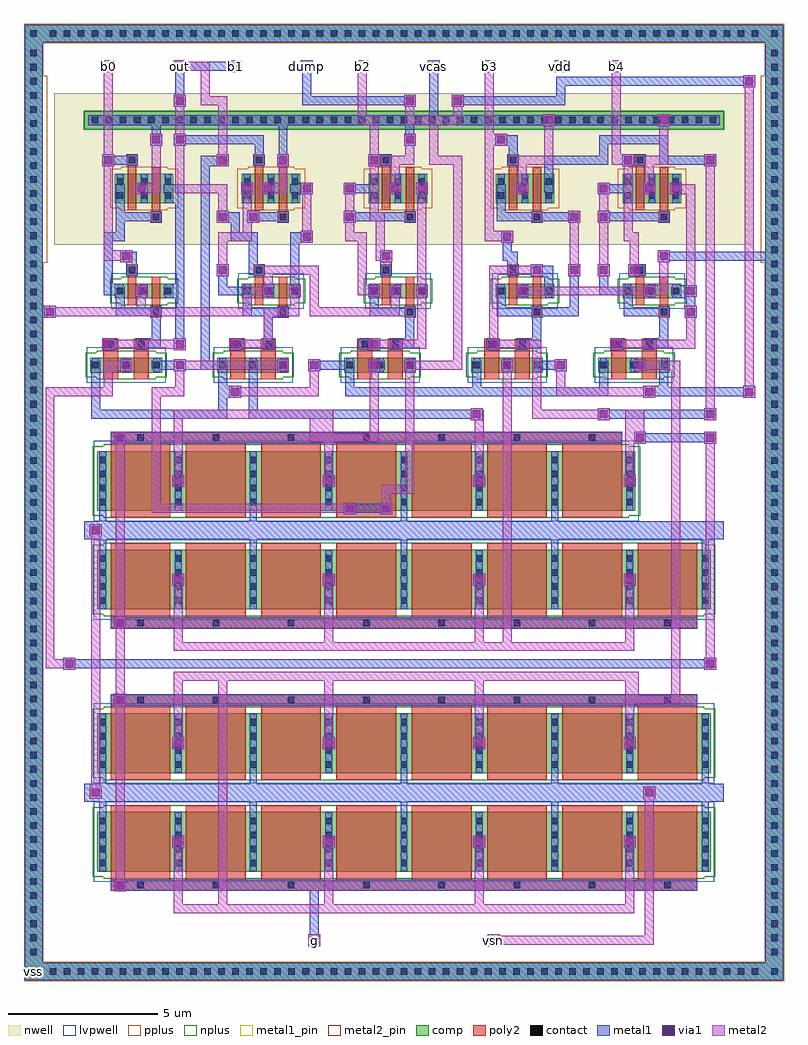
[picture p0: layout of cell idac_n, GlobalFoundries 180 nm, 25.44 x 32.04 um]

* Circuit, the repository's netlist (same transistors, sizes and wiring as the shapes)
* NGSPICE file created from idac_n.ext - technology: gf180mcuD

.subckt n_w2_l2_f8 a_n52_n200# a_n1060_n200# a_452_n200# a_1564_n244# a_n452_n244#
+ a_n556_n200# a_n1460_n244# a_1460_n200# a_52_n244# a_n1564_n200# a_956_n200# a_n2052_n200#
+ a_n956_n244# a_1060_n244# a_n1964_n244# a_556_n244# a_1964_n200# VSUBS
X0 a_1964_n200# a_1564_n244# a_1460_n200# VSUBS nfet_03v3 ad=0.88p pd=4.88u as=0.52p ps=2.52u w=2u l=2u
X1 a_452_n200# a_52_n244# a_n52_n200# VSUBS nfet_03v3 ad=0.52p pd=2.52u as=0.52p ps=2.52u w=2u l=2u
X2 a_956_n200# a_556_n244# a_452_n200# VSUBS nfet_03v3 ad=0.52p pd=2.52u as=0.52p ps=2.52u w=2u l=2u
X3 a_1460_n200# a_1060_n244# a_956_n200# VSUBS nfet_03v3 ad=0.52p pd=2.52u as=0.52p ps=2.52u w=2u l=2u
X4 a_n1564_n200# a_n1964_n244# a_n2052_n200# VSUBS nfet_03v3 ad=0.52p pd=2.52u as=0.88p ps=4.88u w=2u l=2u
X5 a_n1060_n200# a_n1460_n244# a_n1564_n200# VSUBS nfet_03v3 ad=0.52p pd=2.52u as=0.52p ps=2.52u w=2u l=2u
X6 a_n556_n200# a_n956_n244# a_n1060_n200# VSUBS nfet_03v3 ad=0.52p pd=2.52u as=0.52p ps=2.52u w=2u l=2u
X7 a_n52_n200# a_n452_n244# a_n556_n200# VSUBS nfet_03v3 ad=0.52p pd=2.52u as=0.52p ps=2.52u w=2u l=2u
.ends

.subckt p_w1_l0p28_f2 a_n196_n100# a_n52_n100# w_n282_n230# a_108_n100# a_52_n144#
+ a_n108_n144#
X0 a_n52_n100# a_n108_n144# a_n196_n100# w_n282_n230# pfet_03v3 ad=0.26p pd=1.52u as=0.44p ps=2.88u w=1u l=0.28u
X1 a_108_n100# a_52_n144# a_n52_n100# w_n282_n230# pfet_03v3 ad=0.44p pd=2.88u as=0.26p ps=1.52u w=1u l=0.28u
.ends

.subckt n_w0p5_l0p28_f2 a_n52_n50# a_n196_n50# a_52_n94# a_108_n50# a_n108_n94# VSUBS
X0 a_108_n50# a_52_n94# a_n52_n50# VSUBS nfet_03v3 ad=0.22p pd=1.88u as=0.13p ps=1.02u w=0.5u l=0.28u
X1 a_n52_n50# a_n108_n94# a_n196_n50# VSUBS nfet_03v3 ad=0.13p pd=1.02u as=0.22p ps=1.88u w=0.5u l=0.28u
.ends

.subckt n_w2_l2_f7 a_n704_n244# a_n808_n200# a_304_n244# a_n1712_n244# a_1712_n200#
+ a_n1800_n200# a_n1208_n244# a_1208_n200# a_200_n200# a_1312_n244# a_808_n244# a_n200_n244#
+ a_n304_n200# a_n1312_n200# a_704_n200# VSUBS
X0 a_n304_n200# a_n704_n244# a_n808_n200# VSUBS nfet_03v3 ad=0.52p pd=2.52u as=0.52p ps=2.52u w=2u l=2u
X1 a_200_n200# a_n200_n244# a_n304_n200# VSUBS nfet_03v3 ad=0.52p pd=2.52u as=0.52p ps=2.52u w=2u l=2u
X2 a_1712_n200# a_1312_n244# a_1208_n200# VSUBS nfet_03v3 ad=0.88p pd=4.88u as=0.52p ps=2.52u w=2u l=2u
X3 a_1208_n200# a_808_n244# a_704_n200# VSUBS nfet_03v3 ad=0.52p pd=2.52u as=0.52p ps=2.52u w=2u l=2u
X4 a_704_n200# a_304_n244# a_200_n200# VSUBS nfet_03v3 ad=0.52p pd=2.52u as=0.52p ps=2.52u w=2u l=2u
X5 a_n1312_n200# a_n1712_n244# a_n1800_n200# VSUBS nfet_03v3 ad=0.52p pd=2.52u as=0.88p ps=4.88u w=2u l=2u
X6 a_n808_n200# a_n1208_n244# a_n1312_n200# VSUBS nfet_03v3 ad=0.52p pd=2.52u as=0.52p ps=2.52u w=2u l=2u
.ends

.subckt n_w0p5_l0p5_f2 a_n52_n50# a_52_n94# a_152_n50# a_n240_n50# a_n152_n94# VSUBS
X0 a_152_n50# a_52_n94# a_n52_n50# VSUBS nfet_03v3 ad=0.22p pd=1.88u as=0.13p ps=1.02u w=0.5u l=0.5u
X1 a_n52_n50# a_n152_n94# a_n240_n50# VSUBS nfet_03v3 ad=0.13p pd=1.02u as=0.22p ps=1.88u w=0.5u l=0.5u
.ends

.subckt idac_n g vsn b0 b1 b2 b3 b4 out dump vcas vdd vss
XU4b vsn vsn m1_988_888# g g m1_988_888# g m1_988_888# g m1_988_888# vsn vsn g g g
+ g vsn vss n_w2_l2_f8
XU3 vsn vsn m1_988_2644# g g m1_988_2644# g m1_988_2644# g m1_988_2644# vsn vsn g
+ g g g vsn vss n_w2_l2_f8
XIP0 a_732_4170# vcas vcas a_528_4170# a_732_4170# b0 p_w1_l0p28_f2
XIP1 a_1582_4170# vcas vcas a_1378_4170# a_1582_4170# b1 p_w1_l0p28_f2
XIP2 a_2432_4170# vcas vcas a_2228_4170# a_2432_4170# b2 p_w1_l0p28_f2
XIN0 vss a_732_4170# a_732_4170# a_528_4170# b0 vss n_w0p5_l0p28_f2
XIP3 a_3282_4170# vcas vcas a_3078_4170# a_3282_4170# b3 p_w1_l0p28_f2
XIN1 vss a_1582_4170# a_1582_4170# a_1378_4170# b1 vss n_w0p5_l0p28_f2
XIP4 a_4132_4170# vcas vcas a_3928_4170# a_4132_4170# b4 p_w1_l0p28_f2
XIN3 vss a_3282_4170# a_3282_4170# a_3078_4170# b3 vss n_w0p5_l0p28_f2
XIN2 vss a_2432_4170# a_2432_4170# a_2228_4170# b2 vss n_w0p5_l0p28_f2
XIN4 vss a_4132_4170# a_4132_4170# a_3928_4170# b4 vss n_w0p5_l0p28_f2
XU210 g vsn g g m1_260_2080# vsn g vsn vsn g g g m1_988_3304# m1_988_3304# m1_1500_3762#
+ vss n_w2_l2_f7
XSW0 m1_260_2080# a_732_4170# dump out a_528_4170# vss n_w0p5_l0p5_f2
XSW2 m1_988_3304# a_2432_4170# dump out a_2228_4170# vss n_w0p5_l0p5_f2
XSW1 m1_1500_3762# a_1582_4170# dump out a_1378_4170# vss n_w0p5_l0p5_f2
XSW3 m1_988_2644# a_3282_4170# dump out a_3078_4170# vss n_w0p5_l0p5_f2
XSW4 m1_988_888# a_4132_4170# dump out a_3928_4170# vss n_w0p5_l0p5_f2
XU4a vsn vsn m1_988_888# g g m1_988_888# g m1_988_888# g m1_988_888# vsn vsn g g g
+ g vsn vss n_w2_l2_f8
.ends

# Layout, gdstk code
import gdstk
lib = gdstk.Library(unit=1e-6, precision=1e-09)
def R(c, l, rs):  # rectangles x0, y0, x1, y1
    for r in rs: c.add(gdstk.rectangle(r[:2], r[2:], *l))
def A(c, l, x, y, w, h, nx, ny, dx, dy):  # array of equal rectangles
    R(c, l, [(x+i*dx, y+j*dy, x+i*dx+w, y+j*dy+h) for i in range(nx) for j in range(ny)])
nwell = (21, 0)
comp = (22, 0)
poly2 = (30, 0)
pplus = (31, 0)
nplus = (32, 0)
contact = (33, 0)
metal1 = (34, 0)
metal1_pin = (34, 10)
via1 = (35, 0)
metal2 = (36, 0)
metal2_pin = (36, 10)
lvpwell = (204, 0)

n_w2_l2_f8 = lib.new_cell('n_w2_l2_f8')
R(n_w2_l2_f8, comp, [(-10.26,-1,10.26,1)])
A(n_w2_l2_f8, poly2, -9.82, -1.22, 2, 2.44, 8, 1, 2.52, 0)
R(n_w2_l2_f8, nplus, [(-10.05,-1.23,10.05,-1.16), (-10.42,-1.16,10.42,1.16), (-10.05,1.16,10.05,1.23)])
A(n_w2_l2_f8, contact, -10.19, -0.815, 0.22, 0.22, 9, 4, 2.52, 0.47)
A(n_w2_l2_f8, metal1, -10.195, -0.99, 0.23, 1.98, 9, 1, 2.52, 0)
R(n_w2_l2_f8, lvpwell, [(-10.38,-1.34,10.38,1.34)])

n_w2_l2_f7 = lib.new_cell('n_w2_l2_f7')
R(n_w2_l2_f7, comp, [(-9,-1,9,1)])
A(n_w2_l2_f7, poly2, -8.56, -1.22, 2, 2.44, 7, 1, 2.52, 0)
R(n_w2_l2_f7, nplus, [(-8.79,-1.23,8.79,-1.16), (-9.16,-1.16,9.16,1.16), (-8.79,1.16,8.79,1.23)])
A(n_w2_l2_f7, contact, -8.93, -0.815, 0.22, 0.22, 8, 4, 2.52, 0.47)
A(n_w2_l2_f7, metal1, -8.935, -0.99, 0.23, 1.98, 8, 1, 2.52, 0)
R(n_w2_l2_f7, lvpwell, [(-9.12,-1.34,9.12,1.34)])

n_w0p5_l0p5_f2 = lib.new_cell('n_w0p5_l0p5_f2')
R(n_w0p5_l0p5_f2, comp, [(-1.2,-0.25,1.2,0.25)])
R(n_w0p5_l0p5_f2, poly2, [(-0.76,-0.47,-0.26,0.47), (0.26,-0.47,0.76,0.47)])
R(n_w0p5_l0p5_f2, nplus, [(-0.99,-0.48,0.99,-0.41), (-1.36,-0.41,1.36,0.41), (-0.99,0.41,0.99,0.48)])
A(n_w0p5_l0p5_f2, contact, -1.13, -0.11, 0.22, 0.22, 3, 1, 1.02, 0)
A(n_w0p5_l0p5_f2, metal1, -1.135, -0.24, 0.23, 0.48, 3, 1, 1.02, 0)
R(n_w0p5_l0p5_f2, lvpwell, [(-1.32,-0.59,1.32,0.59)])

n_w0p5_l0p28_f2 = lib.new_cell('n_w0p5_l0p28_f2')
R(n_w0p5_l0p28_f2, comp, [(-0.98,-0.25,0.98,0.25)])
R(n_w0p5_l0p28_f2, poly2, [(-0.54,-0.47,-0.26,0.47), (0.26,-0.47,0.54,0.47)])
R(n_w0p5_l0p28_f2, nplus, [(-0.77,-0.48,0.77,-0.41), (-1.14,-0.41,1.14,0.41), (-0.77,0.41,0.77,0.48)])
A(n_w0p5_l0p28_f2, contact, -0.91, -0.11, 0.22, 0.22, 3, 1, 0.8, 0)
A(n_w0p5_l0p28_f2, metal1, -0.915, -0.24, 0.23, 0.48, 3, 1, 0.8, 0)
R(n_w0p5_l0p28_f2, lvpwell, [(-1.1,-0.59,1.1,0.59)])

p_w1_l0p28_f2 = lib.new_cell('p_w1_l0p28_f2')
R(p_w1_l0p28_f2, nwell, [(-1.41,-1.15,1.41,1.15)])
R(p_w1_l0p28_f2, comp, [(-0.98,-0.5,0.98,0.5)])
R(p_w1_l0p28_f2, poly2, [(-0.54,-0.72,-0.26,0.72), (0.26,-0.72,0.54,0.72)])
R(p_w1_l0p28_f2, pplus, [(-0.77,-0.73,0.77,-0.66), (-1.14,-0.66,1.14,0.66), (-0.77,0.66,0.77,0.73)])
A(p_w1_l0p28_f2, contact, -0.91, -0.345, 0.22, 0.22, 3, 2, 0.8, 0.47)
A(p_w1_l0p28_f2, metal1, -0.915, -0.49, 0.23, 0.98, 3, 1, 0.8, 0)

idac_n = lib.new_cell('idac_n')
R(idac_n, nwell, [(1,24.62,24.4,29.7)])
R(idac_n, comp, [(0,0,25.4,0.6), (0,0.6,0.6,31.4), (24.8,0.6,25.4,31.4), (2,28.5,23.4,29.1), (0,31.4,25.4,32)])
A(idac_n, poly2, 2.88, 3.37, 2, 0.27, 8, 2, 2.52, 5.57)
A(idac_n, poly2, 2.88, 12.15, 2, 0.27, 8, 1, 2.52, 0)
A(idac_n, poly2, 2.88, 17.72, 2, 0.27, 7, 1, 2.52, 0)
A(idac_n, poly2, 4.22, 22.2, 0.36, 0.36, 5, 2, 4.25, 3.18)
A(idac_n, poly2, 4.26, 22.56, 0.28, 0.27, 5, 2, 4.25, 3.18)
A(idac_n, poly2, 3.46, 23.33, 0.28, 0.27, 5, 2, 4.25, 3.68)
A(idac_n, poly2, 3.42, 23.6, 0.36, 0.36, 5, 2, 4.25, 3.68)
R(idac_n, poly2, [(2.88,3.01,22.52,3.37), (2.88,9.21,22.52,9.57), (2.88,11.79,22.52,12.15), (2.88,17.99,20,18.35), (2.64,20.85,3.14,21.48), (3.66,20.85,4.16,21.48), (6.89,20.85,7.39,21.48), (7.91,20.85,8.41,21.48), (11.14,20.85,11.64,21.48), (12.16,20.85,12.66,21.48), (15.39,20.85,15.89,21.48), (16.41,20.85,16.91,21.48), (19.64,20.85,20.14,21.48), (20.66,20.85,21.16,21.48)])
R(idac_n, pplus, [(-0.02,-0.02,25.42,0.62), (-0.02,0.62,0.62,24.03), (24.78,0.62,25.42,24.03), (-0.02,24.03,0.76,30.29), (24.64,24.03,25.42,30.29), (-0.02,30.29,0.62,31.38), (24.78,30.29,25.42,31.38), (-0.02,31.38,25.42,32.02)])
R(idac_n, nplus, [(1.98,28.48,23.42,29.12)])
A(idac_n, contact, 0.84, 0.19, 0.22, 0.22, 51, 2, 0.47, 31.4)
A(idac_n, contact, 0.19, 0.85, 0.22, 0.22, 1, 65, 0, 0.47)
A(idac_n, contact, 24.99, 0.85, 0.22, 0.22, 1, 65, 0, 0.47)
A(idac_n, contact, 3.77, 3.08, 0.22, 0.22, 8, 2, 2.52, 6.2)
A(idac_n, contact, 3.77, 11.86, 0.22, 0.22, 8, 1, 2.52, 0)
A(idac_n, contact, 3.77, 18.06, 0.22, 0.22, 7, 1, 2.52, 0)
A(idac_n, contact, 4.29, 22.27, 0.22, 0.22, 5, 2, 4.25, 3.18)
A(idac_n, contact, 3.49, 23.67, 0.22, 0.22, 5, 2, 4.25, 3.68)
A(idac_n, contact, 2.25, 28.69, 0.22, 0.22, 45, 1, 0.47, 0)
R(idac_n, contact, [(0.19,0.19,0.41,0.41), (24.99,0.19,25.21,0.41), (2.78,21.19,3,21.41), (3.8,21.19,4.02,21.41), (7.03,21.19,7.25,21.41), (8.05,21.19,8.27,21.41), (11.28,21.19,11.5,21.41), (12.3,21.19,12.52,21.41), (15.53,21.19,15.75,21.41), (16.55,21.19,16.77,21.41), (19.78,21.19,20,21.41), (20.8,21.19,21.02,21.41), (0.19,31.59,0.41,31.81), (24.99,31.59,25.21,31.81)])
A(idac_n, metal1, 2.505, 3.65, 0.23, 2.34, 5, 2, 5.04, 2.94)
A(idac_n, metal1, 4.94, 4.44, 0.4, 0.4, 4, 2, 5.04, 3.3)
A(idac_n, metal1, 2.505, 12.43, 0.23, 2.34, 5, 1, 5.04, 0)
A(idac_n, metal1, 4.94, 13.22, 0.4, 0.4, 4, 2, 5.04, 3.3)
A(idac_n, metal1, 2.505, 15.37, 0.23, 2.34, 4, 1, 5.04, 0)
A(idac_n, metal1, 12.22, 21.11, 0.38, 0.04, 3, 1, 4.25, 0)
A(idac_n, metal1, 12.22, 21.15, 0.83, 0.34, 3, 1, 4.25, 0)
A(idac_n, metal1, 12.75, 21.49, 0.3, 0.7, 3, 1, 4.25, 0)
A(idac_n, metal1, 12.71, 22.19, 0.38, 0.04, 3, 1, 4.25, 0)
A(idac_n, metal1, 3.05, 22.23, 1.54, 0.3, 3, 1, 4.25, 0)
A(idac_n, metal1, 4.21, 22.53, 0.38, 0.04, 5, 2, 4.25, 2.84)
A(idac_n, metal1, 4.21, 25.71, 0.38, 0.04, 5, 1, 4.25, 0)
R(idac_n, metal1, [(0,0,25.4,0.6), (0,0.6,0.6,22.18), (24.8,0.6,25.4,24.1), (9.5,1.15,9.9,1.55), (9.55,1.55,9.85,3), (3,2.99,3.4,3), (2.88,3,22.52,3.38), (3,3.38,3.4,3.39), (2,5.99,23.4,6.59), (3,9.19,3.4,9.2), (2.88,9.2,22.52,9.58), (3,9.58,3.4,9.59), (1.3,10.4,1.7,10.45), (22.75,10.4,23.15,10.45), (1.3,10.45,23.15,10.75), (1.3,10.75,1.7,10.8), (22.75,10.75,23.15,10.8), (3,11.77,3.4,11.78), (2.88,11.78,22.52,12.16), (3,12.16,3.4,12.17), (2,14.77,23.4,15.37), (10.68,15.6,11.08,15.65), (11.9,15.6,12.3,15.65), (10.68,15.65,12.3,15.95), (10.68,15.95,11.08,16), (11.9,15.95,12.3,16), (3,17.97,3.4,17.98), (20.4,17.97,20.8,18.02), (22.75,17.97,23.15,18.02), (2.88,17.98,20,18.36), (20.4,18.02,23.15,18.32), (20.4,18.32,20.8,18.37), (22.75,18.32,23.15,18.37), (3,18.36,3.4,18.37), (14.93,18.76,15.33,18.81), (19.18,18.76,19.58,18.81), (22.75,18.76,23.15,18.81), (2.23,18.81,6.78,19.11), (7.5,18.81,15.33,19.11), (19.18,18.81,23.15,19.11), (2.23,19.11,2.53,20.75), (6.48,19.11,6.78,19.5), (7.5,19.11,7.8,20.75), (14.93,19.11,15.33,19.16), (19.18,19.11,19.58,19.16), (22.75,19.11,23.15,19.16), (6.48,19.5,7.25,19.9), (20.71,19.5,21.11,19.55), (24.05,19.5,24.45,19.55), (10.73,19.55,19.53,19.85), (20.71,19.55,24.45,19.85), (10.73,19.85,11.03,20.45), (14.98,19.85,15.28,20.75), (19.23,19.85,19.53,20.75), (20.71,19.85,21.55,19.9), (24.05,19.85,24.45,19.9), (6.48,19.9,6.78,20.45), (21.25,19.9,21.55,20.75), (3.2,20.4,3.6,20.8), (5,20.4,5.4,20.45), (8.45,20.4,8.85,20.8), (9.5,20.4,9.9,20.45), (11.5,20.4,11.9,20.45), (12.7,20.4,13.1,20.8), (15.95,20.4,16.35,20.8), (17.75,20.4,18.15,20.45), (20.4,20.4,20.8,20.45), (4.25,20.45,5.4,20.75), (5.9,20.45,6.78,20.75), (9.5,20.45,11.03,20.75), (11.5,20.45,12.05,20.75), (17,20.45,18.15,20.75), (20.25,20.45,20.8,20.75), (5,20.75,5.4,20.8), (5.9,20.75,6.2,27.26), (9.5,20.75,9.9,20.8), (11.5,20.75,11.9,20.8), (17.75,20.75,18.15,20.8), (20.4,20.75,20.8,20.8), (2.6,21.1,3,21.11), (5,21.1,5.4,21.5), (6.85,21.1,7.25,21.11), (11.5,21.1,11.9,21.11), (15.5,21.1,15.9,21.11), (19.6,21.1,20,21.11), (2.6,21.11,3.08,21.49), (3.72,21.11,4.1,21.15), (6.85,21.11,7.33,21.49), (7.97,21.11,8.35,21.49), (11.2,21.11,11.9,21.15), (15.45,21.11,15.9,21.49), (19.6,21.11,20.08,21.49), (3.72,21.15,4.55,21.49), (11.15,21.15,11.9,21.45), (11.2,21.45,11.9,21.49), (2.6,21.49,3,21.5), (4.25,21.49,4.55,22.19), (6.85,21.49,7.25,21.5), (8.01,21.49,8.31,22.19), (11.5,21.49,11.9,21.5), (15.5,21.49,15.9,21.5), (19.6,21.49,20,21.5), (5.05,21.5,5.35,22.84), (0,22.18,1.05,22.58), (22.1,22.18,22.5,22.58), (4.21,22.19,4.59,22.23), (8.01,22.19,8.84,22.23), (15.8,22.23,18.55,22.53), (20.05,22.23,21.59,22.53), (3.05,22.53,3.35,22.93), (7.3,22.53,7.6,22.93), (11.55,22.53,11.85,22.88), (15.8,22.53,16.1,23.23), (18.25,22.53,18.55,23.58), (20.05,22.53,20.35,22.93), (0,22.58,0.6,31.4), (22.15,22.58,22.45,22.84), (4.915,22.84,5.35,22.93), (21.915,22.84,22.45,22.88), (3.71,22.88,4.11,23.28), (7.96,22.88,8.36,23.28), (8.85,22.88,9.25,23.28), (11.5,22.88,11.9,23.28), (12.21,22.88,12.61,23.28), (13.1,22.88,13.5,23.28), (16.46,22.88,16.86,23.28), (20.71,22.88,21.11,23.28), (21.915,22.88,22.5,22.93), (2.65,22.93,3.35,23.23), (4.65,22.93,5.35,23.23), (6.48,22.93,7.6,23.23), (17.4,22.93,17.7,23.58), (19.23,22.93,20.35,23.23), (21.65,22.93,22.5,23.23), (2.65,23.23,3.085,23.32), (4.915,23.23,5.35,23.32), (6.48,23.23,6.78,23.58), (19.23,23.23,19.53,23.58), (21.915,23.23,22.5,23.28), (8.9,23.28,9.2,24.7), (2.65,23.32,2.95,24.75), (5.05,23.32,5.35,26.02), (6.43,23.58,6.83,23.98), (16.95,23.58,17.7,23.93), (18.2,23.58,18.6,23.98), (19.18,23.58,19.58,23.98), (20.2,23.58,20.6,23.59), (3.41,23.59,3.79,23.97), (7.66,23.59,8.04,23.63), (11.91,23.59,12.29,24.05), (16.16,23.59,16.54,23.97), (20.2,23.59,20.79,23.97), (7.5,23.63,8.04,23.97), (16.95,23.93,17.35,23.98), (3.41,23.97,3.75,24.05), (7.5,23.97,7.8,24.75), (16.16,23.97,16.5,24.1), (20.2,23.97,20.6,23.98), (3.2,24.05,3.75,24.4), (11.9,24.05,12.3,24.45), (21.2,24.05,21.6,24.1), (16,24.1,16.5,24.4), (21.2,24.1,25.4,24.4), (3.2,24.4,3.6,24.45), (16,24.4,16.3,24.7), (21.2,24.4,21.6,24.45), (24.8,24.4,25.4,31.4), (8.9,24.7,9.65,25.05), (15.95,24.7,16.35,25.1), (2.65,24.75,3.35,25.05), (6.9,24.75,7.8,25.05), (3.05,25.05,3.35,25.41), (6.9,25.05,7.2,25.36), (9.25,25.05,9.65,25.1), (6.43,25.36,7.2,25.71), (7.45,25.36,7.85,25.41), (10.68,25.36,11.08,25.41), (18.2,25.36,18.6,25.41), (19.18,25.36,19.58,25.41), (3.05,25.41,4.59,25.71), (7.45,25.41,8.84,25.71), (10.68,25.41,13.09,25.71), (15.8,25.41,18.6,25.71), (19.18,25.41,21.59,25.71), (3.05,25.71,3.35,26.66), (6.43,25.71,6.83,25.76), (7.45,25.71,7.85,25.76), (10.68,25.71,11.08,25.76), (15.8,25.71,16.1,26.66), (18.2,25.71,18.6,25.76), (19.18,25.71,19.58,25.76), (4.915,26.02,5.35,26.36), (3.71,26.31,4.11,26.71), (7.25,26.31,7.65,26.71), (7.96,26.31,8.36,26.71), (9.165,26.31,9.65,26.36), (10.68,26.31,11.08,26.36), (12.21,26.31,12.61,26.71), (13.1,26.31,13.5,26.71), (16.46,26.31,16.86,26.71), (19.18,26.31,19.58,26.36), (20.71,26.31,21.11,26.71), (21.6,26.31,22,26.71), (4.65,26.36,5.35,26.66), (8.9,26.36,9.65,26.66), (10.68,26.36,11.85,26.66), (17.4,26.36,17.7,27.31), (19.18,26.36,20.35,26.66), (9.165,26.66,9.65,26.71), (10.68,26.66,11.08,26.71), (19.18,26.66,19.58,26.71), (2.6,27.26,3,27.31), (5.9,27.26,6.83,27.61), (8.45,27.26,8.85,27.66), (11.5,27.26,11.9,27.27), (20,27.26,20.4,27.27), (22.75,27.26,23.15,27.31), (3.41,27.27,3.79,27.31), (7.66,27.27,8.04,27.65), (11.5,27.27,12.29,27.65), (16.16,27.27,16.54,27.65), (20,27.27,20.79,27.65), (2.6,27.31,3.79,27.61), (17.4,27.31,19.53,27.61), (21.25,27.31,23.15,27.61), (2.6,27.61,3,27.66), (3.41,27.61,3.79,27.65), (6.43,27.61,6.83,27.66), (19.23,27.61,19.53,28), (21.25,27.61,21.55,28), (22.75,27.61,23.15,27.66), (7.7,27.65,8,28), (11.5,27.65,11.9,27.66), (16.2,27.65,16.5,27.95), (20,27.65,20.4,27.66), (8.5,27.66,8.8,28.63), (4.2,27.95,4.6,28.35), (5,27.95,5.4,28), (12.7,27.95,13.1,28.35), (15.75,27.95,16.5,28.3), (5,28,8,28.3), (19.23,28,21.55,28.3), (5,28.3,5.4,28.35), (15.75,28.3,16.15,28.35), (4.25,28.35,4.55,28.63), (12.75,28.35,13.05,28.63), (17.35,28.6,17.75,28.63), (21.2,28.6,21.6,28.63), (2.13,28.63,23.27,28.97), (13.55,28.97,13.85,30.4), (17.35,28.97,17.75,29), (21.2,28.97,21.6,29), (5,29.25,5.4,29.65), (12.7,29.25,13.1,29.3), (14.3,29.25,14.7,29.3), (9.3,29.3,13.1,29.6), (14.3,29.3,18.1,29.6), (9.3,29.6,9.6,30.4), (12.7,29.6,13.1,29.65), (14.3,29.6,14.7,29.65), (17.8,29.6,18.1,29.95), (5.05,29.65,5.35,30.45), (24.05,29.9,24.45,29.95), (17.8,29.95,24.45,30.25), (24.05,30.25,24.45,30.3), (6.85,30.4,7.25,30.45), (9.25,30.4,9.65,30.8), (13.5,30.4,13.9,30.8), (5.05,30.45,7.25,30.75), (6.85,30.75,7.25,30.8), (0,31.4,25.4,32)])
R(idac_n, metal1_pin, [(0.1,0.1,0.5,0.5)])
A(idac_n, via1, 5.01, 4.51, 0.26, 0.26, 4, 2, 5.04, 3.3)
A(idac_n, via1, 5.01, 13.29, 0.26, 0.26, 4, 2, 5.04, 3.3)
R(idac_n, via1, [(9.57,1.22,9.83,1.48), (3.07,3.06,3.33,3.32), (2.25,6.16,2.51,6.42), (20.78,6.16,21.04,6.42), (3.07,9.26,3.33,9.52), (1.37,10.47,1.63,10.73), (22.82,10.47,23.08,10.73), (3.07,11.84,3.33,12.1), (2.25,14.94,2.51,15.2), (10.75,15.67,11.01,15.93), (11.97,15.67,12.23,15.93), (3.07,18.04,3.33,18.3), (20.47,18.04,20.73,18.3), (22.82,18.04,23.08,18.3), (15,18.83,15.26,19.09), (19.25,18.83,19.51,19.09), (22.82,18.83,23.08,19.09), (6.92,19.57,7.18,19.83), (20.78,19.57,21.04,19.83), (24.12,19.57,24.38,19.83), (3.27,20.47,3.53,20.73), (5.07,20.47,5.33,20.73), (8.52,20.47,8.78,20.73), (9.57,20.47,9.83,20.73), (11.57,20.47,11.83,20.73), (12.77,20.47,13.03,20.73), (16.02,20.47,16.28,20.73), (17.82,20.47,18.08,20.73), (20.47,20.47,20.73,20.73), (2.67,21.17,2.93,21.43), (5.07,21.17,5.33,21.43), (6.92,21.17,7.18,21.43), (11.57,21.17,11.83,21.43), (15.57,21.17,15.83,21.43), (19.67,21.17,19.93,21.43), (0.72,22.25,0.98,22.51), (22.17,22.25,22.43,22.51), (3.78,22.95,4.04,23.21), (8.03,22.95,8.29,23.21), (8.92,22.95,9.18,23.21), (11.57,22.95,11.83,23.21), (12.28,22.95,12.54,23.21), (13.17,22.95,13.43,23.21), (16.53,22.95,16.79,23.21), (20.78,22.95,21.04,23.21), (22.17,22.95,22.43,23.21), (6.5,23.65,6.76,23.91), (17.02,23.65,17.28,23.91), (18.27,23.65,18.53,23.91), (19.25,23.65,19.51,23.91), (20.27,23.65,20.53,23.91), (3.27,24.12,3.53,24.38), (11.97,24.12,12.23,24.38), (21.27,24.12,21.53,24.38), (9.32,24.77,9.58,25.03), (16.02,24.77,16.28,25.03), (6.5,25.43,6.76,25.69), (7.52,25.43,7.78,25.69), (10.75,25.43,11.01,25.69), (18.27,25.43,18.53,25.69), (19.25,25.43,19.51,25.69), (3.78,26.38,4.04,26.64), (7.32,26.38,7.58,26.64), (8.03,26.38,8.29,26.64), (9.32,26.38,9.58,26.64), (10.75,26.38,11.01,26.64), (12.28,26.38,12.54,26.64), (13.17,26.38,13.43,26.64), (16.53,26.38,16.79,26.64), (19.25,26.38,19.51,26.64), (20.78,26.38,21.04,26.64), (21.67,26.38,21.93,26.64), (2.67,27.33,2.93,27.59), (6.5,27.33,6.76,27.59), (8.52,27.33,8.78,27.59), (11.57,27.33,11.83,27.59), (20.07,27.33,20.33,27.59), (22.82,27.33,23.08,27.59), (4.27,28.02,4.53,28.28), (5.07,28.02,5.33,28.28), (12.77,28.02,13.03,28.28), (15.82,28.02,16.08,28.28), (17.42,28.67,17.68,28.93), (21.27,28.67,21.53,28.93), (5.07,29.32,5.33,29.58), (12.77,29.32,13.03,29.58), (14.37,29.32,14.63,29.58), (24.12,29.97,24.38,30.23), (6.92,30.47,7.18,30.73), (9.32,30.47,9.58,30.73), (13.57,30.47,13.83,30.73)])
A(idac_n, metal2, 4.99, 2.55, 0.3, 1.89, 4, 2, 5.04, 8.78)
A(idac_n, metal2, 4.94, 4.44, 0.4, 0.4, 4, 2, 5.04, 3.3)
A(idac_n, metal2, 4.99, 8.14, 0.3, 1.89, 3, 1, 5.04, 0)
A(idac_n, metal2, 4.94, 13.22, 0.4, 0.4, 4, 2, 5.04, 3.3)
A(idac_n, metal2, 5, 20.4, 0.4, 0.05, 1, 4, 0, 0.35)
A(idac_n, metal2, 12.26, 26.71, 0.3, 0.6, 3, 1, 4.25, 0)
R(idac_n, metal2, [(9.5,1.15,9.9,1.55), (15.5,1.15,15.9,1.2), (15.5,1.2,21.06,1.5), (15.5,1.5,15.9,1.55), (20.76,1.5,21.06,6.09), (4.99,2.25,20.41,2.55), (6.48,2.55,6.78,10.03), (3,2.99,3.4,3.39), (3.05,3.39,3.35,9.19), (2.18,6.09,2.58,6.49), (20.71,6.09,21.11,6.49), (2.23,6.49,2.53,14.87), (20.11,8.14,20.41,9.24), (3,9.19,3.4,9.59), (20.11,9.24,21.95,9.54), (20.11,9.54,20.55,10.03), (21.65,9.54,21.95,20.45), (3.05,9.59,3.35,11.77), (4.99,10.03,20.55,10.33), (1.3,10.4,1.7,10.45), (22.75,10.4,23.15,10.8), (0.7,10.45,1.7,10.75), (0.7,10.75,1,19.55), (1.3,10.75,1.7,10.8), (22.8,10.8,23.1,17.97), (4.99,11.03,20.41,11.33), (16,11.33,16.3,20.4), (3,11.77,3.4,12.17), (3.05,12.17,3.35,17.97), (2.18,14.87,2.58,15.27), (10.68,15.6,11.08,15.65), (11.9,15.6,12.3,16), (4.25,15.65,11.08,15.95), (4.25,15.95,4.55,19.55), (10.68,15.95,11.08,16), (11.95,16,12.25,16.3), (11.95,16.3,13.05,16.6), (12.75,16.6,13.05,20.4), (4.99,16.92,5.29,18.81), (10.03,16.92,10.33,18.02), (15.07,16.92,15.37,18.76), (20.11,16.92,20.41,17.97), (3,17.97,3.4,18.37), (20.11,17.97,20.8,18.37), (22.75,17.97,23.15,18.37), (9.55,18.02,11.85,18.32), (9.55,18.32,10.33,18.81), (11.55,18.32,11.85,20.4), (20.11,18.37,20.75,19.11), (14.93,18.76,15.37,19.11), (19.18,18.76,19.58,18.81), (22.75,18.76,23.15,19.16), (4.99,18.81,10.33,19.11), (17,18.81,19.58,19.11), (14.93,19.11,15.33,19.16), (17,19.11,17.3,21.15), (19.18,19.11,19.58,19.16), (22.8,19.16,23.1,27.26), (6.85,19.5,7.25,19.55), (20.71,19.5,21.11,19.55), (24.05,19.5,24.45,19.9), (0.7,19.55,2.95,19.85), (4.25,19.55,5.35,19.85), (6.85,19.55,9.85,19.85), (17.8,19.55,21.11,19.85), (2.65,19.85,2.95,20.4), (5.05,19.85,5.35,20.4), (6.85,19.85,7.25,19.9), (9.55,19.85,9.85,20.4), (17.8,19.85,18.1,20.4), (20.71,19.85,21.11,19.9), (24.1,19.9,24.4,29.9), (2.65,20.4,3.6,20.75), (8.45,20.4,8.85,20.45), (9.5,20.4,9.9,20.8), (11.5,20.4,11.9,20.8), (12.7,20.4,13.1,20.45), (15.95,20.4,16.35,20.8), (17.75,20.4,18.15,20.8), (20.4,20.4,20.8,20.45), (5,20.45,8.85,20.75), (12.7,20.45,14.65,20.75), (20.4,20.45,21.95,20.75), (3.2,20.75,3.6,20.8), (8.45,20.75,8.85,20.8), (12.7,20.75,13.1,20.8), (14.35,20.75,14.65,27.31), (20.4,20.75,20.8,20.8), (2.6,21.1,3,21.15), (6.85,21.1,7.25,21.15), (11.5,21.1,11.9,21.15), (15.5,21.1,15.9,21.15), (19.6,21.1,20,21.15), (2.6,21.15,5.4,21.45), (6.85,21.15,8.31,21.45), (11.5,21.15,13.45,21.45), (15.5,21.15,17.3,21.45), (19.6,21.15,22.45,21.45), (2.6,21.45,3,21.5), (6.85,21.45,7.25,21.5), (8.01,21.45,8.31,22.23), (11.5,21.45,11.9,21.5), (13.15,21.45,13.45,22.88), (15.5,21.45,15.9,21.5), (19.6,21.45,20,21.5), (22.15,21.45,22.45,22.18), (15.55,21.5,15.85,23.63), (0.65,22.18,1.05,22.23), (22.1,22.18,22.5,22.58), (0.65,22.23,7.6,22.53), (8.01,22.23,9.2,22.53), (9.55,22.23,12.56,22.53), (0.65,22.53,1.05,22.58), (3.76,22.53,4.06,22.88), (7.3,22.53,7.6,22.93), (8.9,22.53,9.2,22.88), (9.55,22.53,9.85,23.63), (12.26,22.53,12.56,22.88), (3.71,22.88,4.11,23.28), (7.96,22.88,8.36,22.93), (8.85,22.88,9.25,23.28), (11.5,22.88,11.9,22.93), (12.21,22.88,12.61,23.28), (13.1,22.88,13.5,23.28), (16.46,22.88,16.86,22.93), (20.71,22.88,21.11,22.93), (22.1,22.88,22.5,23.28), (7.3,22.93,8.36,23.23), (11.15,22.93,11.9,23.28), (16.46,22.93,21.55,23.23), (7.96,23.23,8.36,23.28), (16.46,23.23,16.86,23.28), (20.71,23.23,21.55,23.28), (8.01,23.28,8.31,23.63), (11.15,23.28,11.45,24.75), (13.15,23.28,13.45,26.31), (21.25,23.28,21.55,24.05), (22.15,23.28,22.45,26.31), (6.43,23.58,6.83,23.98), (16.95,23.58,17.35,23.63), (18.2,23.58,18.6,23.98), (19.18,23.58,19.58,23.98), (20.2,23.58,20.6,23.98), (8.01,23.63,9.85,23.93), (15.55,23.63,17.35,23.93), (16.95,23.93,17.35,23.98), (6.48,23.98,6.78,24.75), (18.25,23.98,18.55,25.36), (19.23,23.98,19.53,25.36), (20.25,23.98,20.55,24.75), (3.2,24.05,3.6,24.1), (11.9,24.05,12.3,24.1), (21.2,24.05,21.6,24.45), (2.65,24.1,3.6,24.45), (11.75,24.1,12.3,24.45), (2.65,24.45,2.95,27.26), (11.75,24.45,12.05,25.41), (9.25,24.7,9.65,25.1), (15.95,24.7,16.35,24.75), (6.48,24.75,7.6,25.05), (10.73,24.75,11.45,25.05), (15.4,24.75,16.35,25.1), (20.05,24.75,20.55,25.05), (7.3,25.05,7.6,25.36), (10.73,25.05,11.03,25.36), (20.05,25.05,20.35,27.26), (9.3,25.1,9.6,26.31), (15.4,25.1,15.7,27.95), (6.43,25.36,6.83,25.76), (7.3,25.36,7.85,25.76), (10.68,25.36,11.08,25.76), (18.2,25.36,18.6,25.76), (19.18,25.36,19.58,25.76), (11.55,25.41,12.05,25.71), (11.55,25.71,11.85,27.26), (6.48,25.76,6.78,26.36), (7.3,25.76,7.6,26.31), (10.73,25.76,11.03,26.31), (19.23,25.76,19.53,26.31), (3.71,26.31,4.11,26.36), (7.25,26.31,7.65,26.71), (7.96,26.31,8.36,26.36), (9.25,26.31,9.65,26.71), (10.68,26.31,11.08,26.71), (12.21,26.31,12.61,26.71), (13.1,26.31,13.5,26.71), (16.46,26.31,16.86,26.71), (19.18,26.31,19.58,26.71), (20.71,26.31,21.11,26.71), (21.6,26.31,22.45,26.66), (3.71,26.36,4.55,26.71), (5.05,26.36,6.78,26.66), (7.96,26.36,8.8,26.71), (5.05,26.66,5.35,27.95), (21.6,26.66,22,26.71), (4.25,26.71,4.55,27.95), (8.5,26.71,8.8,27.26), (2.6,27.26,3,27.66), (6.43,27.26,6.83,27.66), (8.45,27.26,8.85,27.66), (11.5,27.26,11.9,27.66), (20,27.26,20.4,27.31), (22.75,27.26,23.15,27.66), (12.26,27.31,13.05,27.61), (13.55,27.31,14.65,27.61), (16.51,27.31,17.7,27.61), (19.65,27.31,20.4,27.66), (20.76,27.31,21.55,27.61), (12.75,27.61,13.05,27.95), (13.55,27.61,13.85,28.65), (17.4,27.61,17.7,28.6), (21.25,27.61,21.55,28.6), (2.65,27.66,2.95,30.4), (6.48,27.66,6.78,29.3), (11.55,27.66,11.85,28.65), (19.65,27.66,19.95,30.4), (4.2,27.95,4.6,28.35), (5,27.95,5.4,28.35), (12.7,27.95,13.1,28.35), (15.4,27.95,16.15,28.35), (5.05,28.35,5.35,29.25), (15.4,28.35,15.7,30.4), (17.35,28.6,17.75,29), (21.2,28.6,21.6,29), (11.15,28.65,11.85,28.95), (12.75,28.65,14.65,28.95), (11.15,28.95,11.45,30.4), (12.75,28.95,13.05,29.25), (14.35,28.95,14.65,29.25), (5,29.25,5.4,29.65), (12.7,29.25,13.1,29.65), (14.3,29.25,14.7,29.65), (5.9,29.3,6.78,29.6), (5.9,29.6,6.2,30.45), (24.05,29.9,24.45,30.3), (2.6,30.4,3,30.8), (5,30.4,5.4,30.45), (6.85,30.4,7.25,30.8), (9.25,30.4,9.65,30.8), (11.1,30.4,11.5,30.8), (13.5,30.4,13.9,30.8), (15.35,30.4,15.75,30.8), (17.75,30.4,18.15,30.8), (19.6,30.4,20,30.8), (5,30.45,6.2,30.75), (5,30.75,5.4,30.8)])
R(idac_n, metal2_pin, [(9.5,1.15,9.9,1.55), (15.5,1.15,15.9,1.55), (2.6,30.4,3,30.8), (5,30.4,5.4,30.8), (6.85,30.4,7.25,30.8), (9.25,30.4,9.65,30.8), (11.1,30.4,11.5,30.8), (13.5,30.4,13.9,30.8), (15.35,30.4,15.75,30.8), (17.75,30.4,18.15,30.8), (19.6,30.4,20,30.8)])
idac_n.add(gdstk.Reference(n_w2_l2_f8, (12.7,4.64)))
idac_n.add(gdstk.Reference(n_w2_l2_f8, (12.7,7.94)))
idac_n.add(gdstk.Reference(n_w2_l2_f8, (12.7,13.42)))
idac_n.add(gdstk.Reference(n_w2_l2_f7, (11.44,16.72)))
idac_n.add(gdstk.Reference(n_w0p5_l0p5_f2, (3.4,20.6)))
idac_n.add(gdstk.Reference(n_w0p5_l0p5_f2, (7.65,20.6)))
idac_n.add(gdstk.Reference(n_w0p5_l0p5_f2, (11.9,20.6)))
idac_n.add(gdstk.Reference(n_w0p5_l0p5_f2, (16.15,20.6)))
idac_n.add(gdstk.Reference(n_w0p5_l0p5_f2, (20.4,20.6)))
idac_n.add(gdstk.Reference(n_w0p5_l0p28_f2, (4,23.08)))
idac_n.add(gdstk.Reference(n_w0p5_l0p28_f2, (8.25,23.08)))
idac_n.add(gdstk.Reference(n_w0p5_l0p28_f2, (12.5,23.08)))
idac_n.add(gdstk.Reference(n_w0p5_l0p28_f2, (16.75,23.08)))
idac_n.add(gdstk.Reference(n_w0p5_l0p28_f2, (21,23.08)))
idac_n.add(gdstk.Reference(p_w1_l0p28_f2, (4,26.51)))
idac_n.add(gdstk.Reference(p_w1_l0p28_f2, (8.25,26.51)))
idac_n.add(gdstk.Reference(p_w1_l0p28_f2, (12.5,26.51)))
idac_n.add(gdstk.Reference(p_w1_l0p28_f2, (16.75,26.51)))
idac_n.add(gdstk.Reference(p_w1_l0p28_f2, (21,26.51)))
idac_n.add(gdstk.Label('g', (9.7,1.35), layer=36, texttype=10))
idac_n.add(gdstk.Label('vsn', (15.7,1.35), layer=36, texttype=10))
idac_n.add(gdstk.Label('b0', (2.8,30.6), layer=36, texttype=10))
idac_n.add(gdstk.Label('b1', (7.05,30.6), layer=36, texttype=10))
idac_n.add(gdstk.Label('b2', (11.3,30.6), layer=36, texttype=10))
idac_n.add(gdstk.Label('b3', (15.55,30.6), layer=36, texttype=10))
idac_n.add(gdstk.Label('b4', (19.8,30.6), layer=36, texttype=10))
idac_n.add(gdstk.Label('out', (5.2,30.6), layer=36, texttype=10))
idac_n.add(gdstk.Label('dump', (9.45,30.6), layer=36, texttype=10))
idac_n.add(gdstk.Label('vcas', (13.7,30.6), layer=36, texttype=10))
idac_n.add(gdstk.Label('vdd', (17.95,30.6), layer=36, texttype=10))
idac_n.add(gdstk.Label('vss', (0.3,0.3), layer=34, texttype=10))

lib.write_gds('idac_n.gds')
